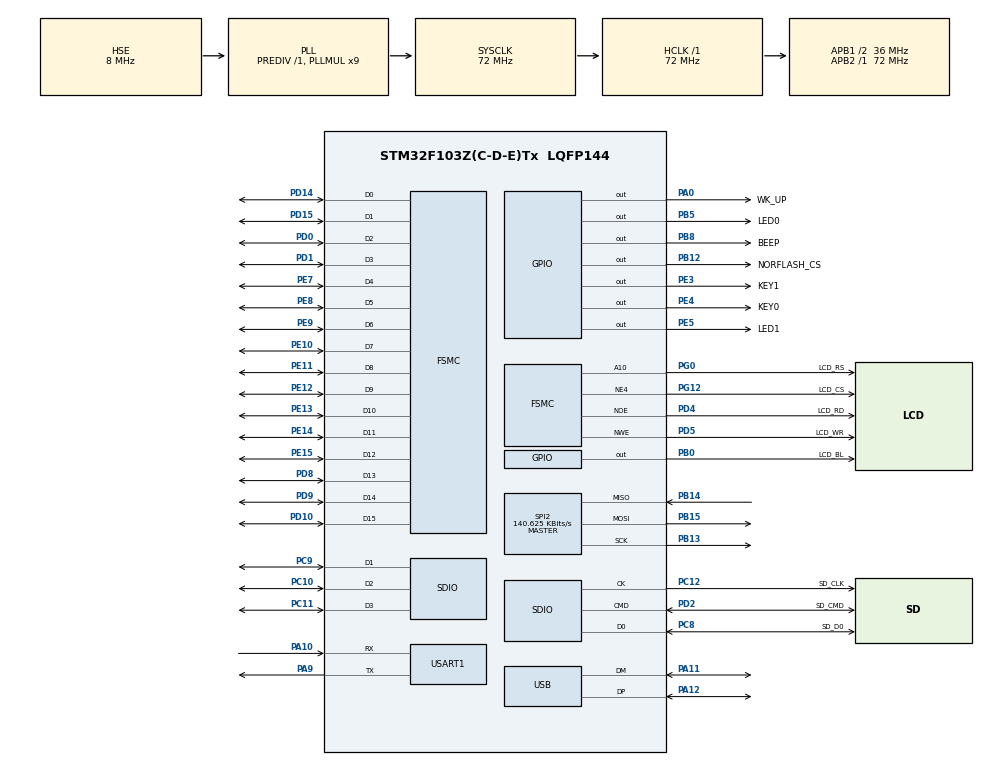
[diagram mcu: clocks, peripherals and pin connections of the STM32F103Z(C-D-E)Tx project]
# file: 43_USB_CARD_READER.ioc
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FSMC.AddressSetupTime1=0
FSMC.BusTurnAroundDuration1=15
FSMC.DataSetupTime1=15
FSMC.ExtendedAddressSetupTime1=0
FSMC.ExtendedDataSetupTime1=1
FSMC.ExtendedMode1=FSMC_EXTENDED_MODE_ENABLE
Mcu.Family=STM32F1
Mcu.Name=STM32F103Z(C-D-E)Tx
Mcu.Package=LQFP144
NVIC.PriorityGroup=NVIC_PRIORITYGROUP_2
NVIC.TIM4_IRQn=true\:2\:2\:true\:false\:true\:true\:true\:true
NVIC.USART1_IRQn=true\:2\:2\:true\:false\:true\:true\:true\:true
NVIC.USB_LP_CAN1_RX0_IRQn=true\:2\:1\:true\:false\:true\:false\:true\:true
OSC_IN.Mode=HSE-External-Oscillator
OSC_IN.Signal=RCC_OSC_IN
OSC_OUT.Mode=HSE-External-Oscillator
OSC_OUT.Signal=RCC_OSC_OUT
PA0-WKUP.GPIO_Label=WK_UP
PA0-WKUP.GPIO_PuPd=GPIO_PULLDOWN
PA0-WKUP.GPIO_Speed=GPIO_SPEED_FREQ_HIGH
PA0-WKUP.PinState=GPIO_PIN_RESET
PA0-WKUP.Signal=GPIO_Output
PA10.Mode=Asynchronous
PA10.Signal=USART1_RX
PA11.Mode=Device
PA11.Signal=USB_DM
PA12.Mode=Device
PA12.Signal=USB_DP
PA13.Mode=Serial_Wire
PA13.Signal=SYS_JTMS-SWDIO
PA14.Mode=Serial_Wire
PA14.Signal=SYS_JTCK-SWCLK
PA9.Mode=Asynchronous
PA9.Signal=USART1_TX
PB0.GPIO_Label=LCD_BL
PB0.GPIO_PuPd=GPIO_PULLUP
PB0.GPIO_Speed=GPIO_SPEED_FREQ_HIGH
PB0.PinState=GPIO_PIN_SET
PB0.Signal=GPIO_Output
PB12.GPIO_Label=NORFLASH_CS
PB12.GPIO_PuPd=GPIO_PULLUP
PB12.GPIO_Speed=GPIO_SPEED_FREQ_HIGH
PB12.PinState=GPIO_PIN_SET
PB12.Signal=GPIO_Output
PB13.Mode=Full_Duplex_Master
PB13.Signal=SPI2_SCK
PB14.Mode=Full_Duplex_Master
PB14.Signal=SPI2_MISO
PB15.Mode=Full_Duplex_Master
PB15.Signal=SPI2_MOSI
PB5.GPIO_Label=LED0
PB5.GPIO_PuPd=GPIO_PULLUP
PB5.GPIO_Speed=GPIO_SPEED_FREQ_HIGH
PB5.PinState=GPIO_PIN_SET
PB5.Signal=GPIO_Output
PB8.GPIO_Label=BEEP
PB8.GPIO_ModeDefaultOutputPP=GPIO_MODE_OUTPUT_PP
PB8.GPIO_PuPd=GPIO_PULLDOWN
PB8.GPIO_Speed=GPIO_SPEED_FREQ_HIGH
PB8.PinState=GPIO_PIN_RESET
PB8.Signal=GPIO_Output
PC10.Mode=SD_4_bits_Wide_bus
PC10.Signal=SDIO_D2
PC11.Mode=SD_4_bits_Wide_bus
PC11.Signal=SDIO_D3
PC12.GPIO_Label=SD_CLK
PC12.Mode=SD_4_bits_Wide_bus
PC12.Signal=SDIO_CK
PC14-OSC32_IN.Mode=LSE-External-Oscillator
PC14-OSC32_IN.Signal=RCC_OSC32_IN
PC15-OSC32_OUT.Mode=LSE-External-Oscillator
PC15-OSC32_OUT.Signal=RCC_OSC32_OUT
PC8.GPIO_Label=SD_D0
PC8.Mode=SD_4_bits_Wide_bus
PC8.Signal=SDIO_D0
PC9.Mode=SD_4_bits_Wide_bus
PC9.Signal=SDIO_D1
PD0.Signal=FSMC_D2_DA2
PD1.Signal=FSMC_D3_DA3
PD10.Signal=FSMC_D15_DA15
PD14.Signal=FSMC_D0_DA0
PD15.Signal=FSMC_D1_DA1
PD2.GPIO_Label=SD_CMD
PD2.Mode=SD_4_bits_Wide_bus
PD2.Signal=SDIO_CMD
PD4.GPIO_Label=LCD_RD
PD4.Signal=FSMC_NOE
PD5.GPIO_Label=LCD_WR
PD5.Signal=FSMC_NWE
PD8.Signal=FSMC_D13_DA13
PD9.Signal=FSMC_D14_DA14
PE10.Signal=FSMC_D7_DA7
PE11.Signal=FSMC_D8_DA8
PE12.Signal=FSMC_D9_DA9
PE13.Signal=FSMC_D10_DA10
PE14.Signal=FSMC_D11_DA11
PE15.Signal=FSMC_D12_DA12
PE3.GPIO_Label=KEY1
PE3.GPIO_PuPd=GPIO_PULLUP
PE3.GPIO_Speed=GPIO_SPEED_FREQ_HIGH
PE3.PinState=GPIO_PIN_SET
PE3.Signal=GPIO_Output
PE4.GPIO_Label=KEY0
PE4.GPIO_PuPd=GPIO_PULLUP
PE4.GPIO_Speed=GPIO_SPEED_FREQ_HIGH
PE4.PinState=GPIO_PIN_SET
PE4.Signal=GPIO_Output
PE5.GPIO_Label=LED1
PE5.GPIO_PuPd=GPIO_PULLUP
PE5.GPIO_Speed=GPIO_SPEED_FREQ_HIGH
PE5.PinState=GPIO_PIN_SET
PE5.Signal=GPIO_Output
PE7.Signal=FSMC_D4_DA4
PE8.Signal=FSMC_D5_DA5
PE9.Signal=FSMC_D6_DA6
PG0.GPIO_Label=LCD_RS
PG0.Signal=FSMC_A10
PG12.GPIO_Label=LCD_CS
PG12.Mode=NorPsramChipSelect4_1
PG12.Signal=FSMC_NE4
ProjectManager.HeapSize=0x1000
ProjectManager.StackSize=0x400
ProjectManager.TargetToolchain=STM32CubeIDE
RCC.AHBFreq_Value=72000000
RCC.APB1CLKDivider=RCC_HCLK_DIV2
RCC.APB1Freq_Value=36000000
RCC.APB1TimFreq_Value=72000000
RCC.APB2Freq_Value=72000000
RCC.APB2TimFreq_Value=72000000
RCC.HCLKFreq_Value=72000000
RCC.PLLMUL=RCC_PLL_MUL9
RCC.PLLSourceVirtual=RCC_PLLSOURCE_HSE
RCC.SYSCLKFreq_VALUE=72000000
RCC.SYSCLKSource=RCC_SYSCLKSOURCE_PLLCLK
RCC.USBFreq_Value=48000000
RCC.USBPrescaler=RCC_USBCLKSOURCE_PLL_DIV1_5
SDIO.ClockDiv=0x06
SDIO.HardwareFlowControl=SDIO_HARDWARE_FLOW_CONTROL_ENABLE
SH.FSMC_A10.0=FSMC_A10,A10_1
SH.FSMC_D0_DA0.0=FSMC_D0,16b-d1
SH.FSMC_D10_DA10.0=FSMC_D10,16b-d1
SH.FSMC_D11_DA11.0=FSMC_D11,16b-d1
SH.FSMC_D12_DA12.0=FSMC_D12,16b-d1
SH.FSMC_D13_DA13.0=FSMC_D13,16b-d1
SH.FSMC_D14_DA14.0=FSMC_D14,16b-d1
SH.FSMC_D15_DA15.0=FSMC_D15,16b-d1
SH.FSMC_D1_DA1.0=FSMC_D1,16b-d1
SH.FSMC_D2_DA2.0=FSMC_D2,16b-d1
SH.FSMC_D3_DA3.0=FSMC_D3,16b-d1
SH.FSMC_D4_DA4.0=FSMC_D4,16b-d1
SH.FSMC_D5_DA5.0=FSMC_D5,16b-d1
SH.FSMC_D6_DA6.0=FSMC_D6,16b-d1
SH.FSMC_D7_DA7.0=FSMC_D7,16b-d1
SH.FSMC_D8_DA8.0=FSMC_D8,16b-d1
SH.FSMC_D9_DA9.0=FSMC_D9,16b-d1
SH.FSMC_NOE.0=FSMC_NOE,Lcd1
SH.FSMC_NWE.0=FSMC_NWE,Lcd1
SPI2.BaudRatePrescaler=SPI_BAUDRATEPRESCALER_256
SPI2.CLKPhase=SPI_PHASE_2EDGE
SPI2.CLKPolarity=SPI_POLARITY_HIGH
SPI2.CalculateBaudRate=140.625 KBits/s
SPI2.Direction=SPI_DIRECTION_2LINES
SPI2.Mode=SPI_MODE_MASTER
SPI2.VirtualType=VM_MASTER
TIM4.AutoReloadPreload=TIM_AUTORELOAD_PRELOAD_ENABLE
TIM4.Period=1000 - 1
TIM4.Prescaler=720 - 1
USART1.VirtualMode=VM_ASYNC
USB_DEVICE.CLASS_NAME_FS=MSC
USB_DEVICE.MSC_MEDIA_PACKET=4096
USB_DEVICE.USBD_MAX_NUM_CONFIGURATION=1
USB_DEVICE.USBD_MAX_NUM_INTERFACES=1
USB_DEVICE.VirtualMode=Msc
USB_DEVICE.VirtualModeFS=Msc_FS
VP_TIM4_VS_ClockSourceINT.Mode=Internal
VP_USB_DEVICE_VS_USB_DEVICE_MSC_FS.Mode=MSC_FS
board=custom

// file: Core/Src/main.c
/* USER CODE BEGIN Header */
/**
 ****************************************************************************************************
 * @file        main.c
 * @author      正点原子团队(ALIENTEK)
 * @version     V1.0
 * @date        2024-01-01
 * @brief       USB读卡器 实验
 * @license     Copyright (c) 2020-2032, 广州市星翼电子科技有限公司
 ****************************************************************************************************
 * @attention
 *
 * 实验平台:正点原子 STM32F103开发板
 * 在线视频:www.yuanzige.com
 * 技术论坛:www.openedv.com
 * 公司网址:www.alientek.com
 * 购买地址:openedv.taobao.com
 *
 ****************************************************************************************************
 */
/* USER CODE END Header */
#include "main.h"
#include "sdio.h"
#include "spi.h"
#include "tim.h"
#include "usart.h"
#include "usb_device.h"
#include "gpio.h"
#include "fsmc.h"

/* USER CODE BEGIN Includes */
#include "../../BSP/LED/led.h"
#include "../../BSP/KEY/key.h"
#include "../../BSP/LCD/lcd.h"
#include "../../BSP/NORFLASH/norflash.h"
#include "../../SYSTEM/delay/delay.h"
#include "../../ATK_Middlewares/MALLOC/malloc.h"
#include "usbd_desc.h"
/* USER CODE END Includes */

/* USER CODE BEGIN PD */
extern uint8_t g_sd_sta;
extern volatile uint8_t g_usb_state_reg;    /* USB状态 */
extern volatile uint8_t g_device_state;     /* USB连接 情况 */
/* USER CODE END PD */

void SystemClock_Config(void);

int main(void)
{
  /* USER CODE BEGIN 1 */
    uint8_t offline_cnt = 0;
    uint8_t tct = 0;
    uint8_t usb_sta;
    uint8_t device_sta;
    uint16_t id;
  /* USER CODE END 1 */

  /* MCU Configuration--------------------------------------------------------*/

  /* Reset of all peripherals, Initializes the Flash interface and the Systick. */
  HAL_Init();

  /* Configure the system clock */
  SystemClock_Config();

  /* USER CODE BEGIN SysInit */
  delay_init(72);						   	/* 初始化延时函数 */
  /* USER CODE END SysInit */

  /* Initialize all configured peripherals */
  MX_GPIO_Init();
  MX_FSMC_Init();
  MX_USART1_UART_Init();
  MX_SDIO_SD_Init();
  MX_SPI2_Init();
  MX_TIM4_Init();
  MX_USB_DEVICE_Init();
  /* USER CODE BEGIN 2 */
  lcd_init();                 /* 初始化LCD */
  norflash_init();            /* 初始化NOR FLASH */
  my_mem_init(SRAMIN);        /* 初始化内部SRAM内存池 */

  lcd_show_string(30, 50, 200, 16, 16, "STM32", RED);
  lcd_show_string(30, 70, 200, 16, 16, "USB Card Reader TEST", RED);
  lcd_show_string(30, 90, 200, 16, 16, "ATOM@ALIENTEK", RED);

  if (g_sd_sta == 1)  /* 初始化SD卡 */
  {
	  g_sd_sta = 0;
	  MX_SDIO_SD_Init();
	  lcd_show_string(30, 110, 200, 16, 16, "SD Card Error!", RED);   /* 检测SD卡错误 */
  }
  else     /* SD 卡正常 */
  {
	  lcd_show_string(30, 110, 200, 16, 16, "SD Card Size:     MB", RED);
	  lcd_show_num(134, 110, SD_TOTAL_SIZE_MB(&hsd), 5, 16, RED);  /* 显示SD卡容量 */
  }

  id = norflash_read_id();
  if ((id == 0) || (id == 0XFFFF))
  {
	  lcd_show_string(30, 110, 200, 16, 16, "NorFlash Error!", RED);  /* 检测NorFlash错误 */
  }
  else   /* SPI FLASH 正常 */
  {
	  lcd_show_string(30, 130, 200, 16, 16, "SPI FLASH Size:7.25MB", RED);
  }

  usbd_port_config(0);    /* USB先断开 */
  delay_ms(500);
  usbd_port_config(1);    /* USB再次连接 */
  delay_ms(500);

  lcd_show_string(30, 170, 200, 16, 16, "USB Connecting...", RED);    /* 提示正在建立连接 */
  delay_ms(1800);
  /* USER CODE END 2 */

  /* Infinite loop */
  /* USER CODE BEGIN WHILE */
  while (1)
  {
	  delay_ms(1);

	  if (usb_sta != g_usb_state_reg)   /* 状态改变了 */
	  {
		  lcd_fill(30, 190, 240, 210 + 16, WHITE); /* 清除显示 */

		  if (g_usb_state_reg & 0x01)   /* 正在写 */
		  {
			  LED1(0);
			  lcd_show_string(30, 190, 200, 16, 16, "USB Writing...", RED); /* 提示USB正在写入数据 */
		  }

		  if (g_usb_state_reg & 0x02)   /* 正在读 */
		  {
			  LED1(0);
			  lcd_show_string(30, 190, 200, 16, 16, "USB Reading...", RED); /* 提示USB正在读出数据 */
		  }

		  if (g_usb_state_reg & 0x04)
		  {
			  lcd_show_string(30, 210, 200, 16, 16, "USB Write Err ", RED); /* 提示写入错误 */
		  }
		  else
		  {
			  lcd_fill(30, 210, 240, 230 + 16, WHITE); /* 清除显示 */
		  }

		  if (g_usb_state_reg & 0x08)
		  {
			  lcd_show_string(30, 230, 200, 16, 16, "USB Read  Err ", RED); /* 提示读出错误 */
		  }
		  else
		  {
			  lcd_fill(30, 230, 240, 250 + 16, WHITE); /* 清除显示 */
		  }

		  usb_sta = g_usb_state_reg; /* 记录最后的状态 */
	  }

	  if (device_sta != g_device_state)
	  {
		  if (g_device_state == 1)
		  {
			  lcd_show_string(30, 170, 200, 16, 16, "USB Connected    ", RED);    /* 提示USB连接已经建立 */
		  }
		  else
		  {
			  lcd_show_string(30, 170, 200, 16, 16, "USB DisConnected ", RED);    /* 提示USB被拔出了 */
		  }

		  device_sta = g_device_state;
	  }

	  tct++;

	  if (tct == 200)
	  {
		  tct = 0;
		  LED1(1);        /* 关闭 LED1 */
		  LED0_TOGGLE();  /* LED0 闪烁 */

		  if (g_usb_state_reg & 0x10)
		  {
			  offline_cnt = 0;    /* USB连接了,则清除offline计数器 */
			  g_device_state = 1;
		  }
		  else    /* 没有得到轮询 */
		  {
			  offline_cnt++;

			  if (offline_cnt > 100)
			  {
				  g_device_state = 0;/* 20s内没收到在线标记,代表USB被拔出了 */
			  }
		  }

		  g_usb_state_reg = 0;
	  }

    /* USER CODE END WHILE */

  }
}

void SystemClock_Config(void)
{
  RCC_OscInitTypeDef RCC_OscInitStruct = {0};
  RCC_ClkInitTypeDef RCC_ClkInitStruct = {0};
  RCC_PeriphCLKInitTypeDef PeriphClkInit = {0};

  /** Initializes the RCC Oscillators according to the specified parameters
  * in the RCC_OscInitTypeDef structure.
  */
  RCC_OscInitStruct.OscillatorType = RCC_OSCILLATORTYPE_HSE;
  RCC_OscInitStruct.HSEState = RCC_HSE_ON;
  RCC_OscInitStruct.HSEPredivValue = RCC_HSE_PREDIV_DIV1;
  RCC_OscInitStruct.HSIState = RCC_HSI_ON;
  RCC_OscInitStruct.PLL.PLLState = RCC_PLL_ON;
  RCC_OscInitStruct.PLL.PLLSource = RCC_PLLSOURCE_HSE;
  RCC_OscInitStruct.PLL.PLLMUL = RCC_PLL_MUL9;
  if (HAL_RCC_OscConfig(&RCC_OscInitStruct) != HAL_OK)
  {
    Error_Handler();
  }

  /** Initializes the CPU, AHB and APB buses clocks
  */
  RCC_ClkInitStruct.ClockType = RCC_CLOCKTYPE_HCLK|RCC_CLOCKTYPE_SYSCLK
                              |RCC_CLOCKTYPE_PCLK1|RCC_CLOCKTYPE_PCLK2;
  RCC_ClkInitStruct.SYSCLKSource = RCC_SYSCLKSOURCE_PLLCLK;
  RCC_ClkInitStruct.AHBCLKDivider = RCC_SYSCLK_DIV1;
  RCC_ClkInitStruct.APB1CLKDivider = RCC_HCLK_DIV2;
  RCC_ClkInitStruct.APB2CLKDivider = RCC_HCLK_DIV1;

  if (HAL_RCC_ClockConfig(&RCC_ClkInitStruct, FLASH_LATENCY_2) != HAL_OK)
  {
    Error_Handler();
  }
  PeriphClkInit.PeriphClockSelection = RCC_PERIPHCLK_USB;
  PeriphClkInit.UsbClockSelection = RCC_USBCLKSOURCE_PLL_DIV1_5;
  if (HAL_RCCEx_PeriphCLKConfig(&PeriphClkInit) != HAL_OK)
  {
    Error_Handler();
  }
}

void Error_Handler(void)
{
  __disable_irq();
  while (1)
  {
  }
}
